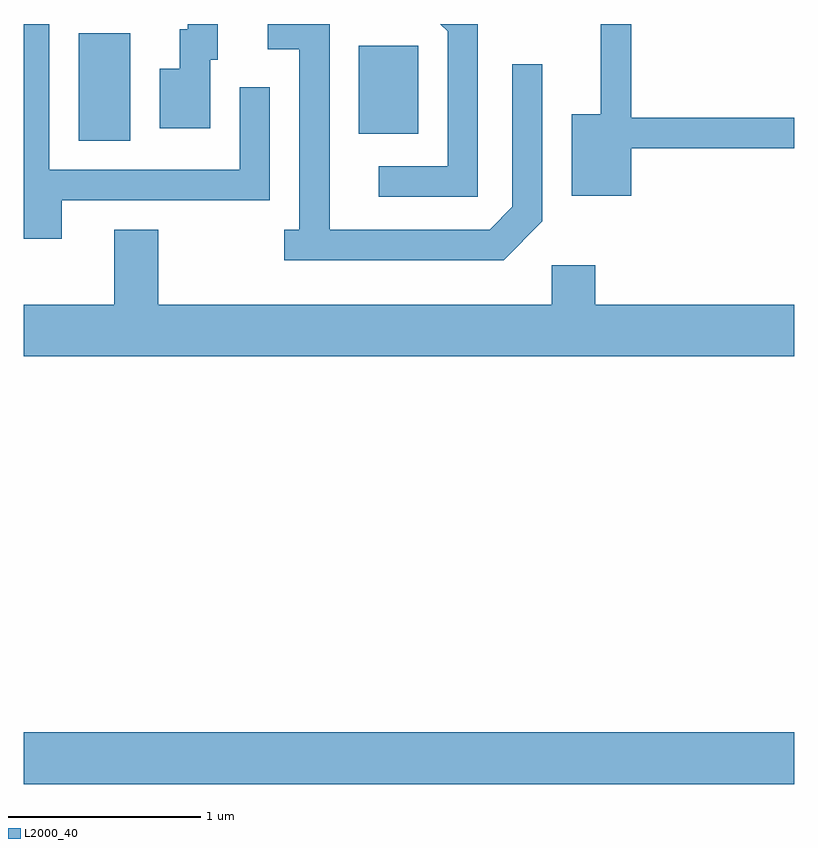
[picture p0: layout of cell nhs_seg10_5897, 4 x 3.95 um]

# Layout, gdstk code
import gdstk
lib = gdstk.Library(unit=1e-6, precision=1e-09)
def R(c, l, rs):  # rectangles x0, y0, x1, y1
    for r in rs: c.add(gdstk.rectangle(r[:2], r[2:], *l))
def P(c, l, *ps):  # polygons
    for p in ps: c.add(gdstk.Polygon(p, *l))
L2000_40 = (2000, 40)

nhs_seg10_5897 = lib.new_cell('nhs_seg10_5897')
R(nhs_seg10_5897, L2000_40, [(359.611,2120.576,363.611,2120.844), (359.896,2123.916,360.164,2124.474), (361.351,2123.951,361.659,2124.409)])
P(nhs_seg10_5897, L2000_40, [(359.809,2123.606),(360.889,2123.606),(360.889,2124.193),(360.731,2124.193),(360.731,2123.764),(359.744,2123.764),(359.744,2124.522),(359.611,2124.522),(359.611,2123.406),(359.809,2123.406)],
  [(362.304,2123.499),(362.304,2124.313),(362.146,2124.313),(362.146,2123.572),(362.029,2123.454),(361.199,2123.454),(361.199,2124.522),(360.878,2124.522),(360.878,2124.391),(361.041,2124.391),(361.041,2123.454),(360.963,2123.454),(360.963,2123.296),(362.102,2123.296)],
  [(362.764,2123.876),(363.611,2123.876),(363.611,2124.034),(362.764,2124.034),(362.764,2124.522),(362.606,2124.522),(362.606,2124.054),(362.456,2124.054),(362.456,2123.631),(362.764,2123.631)],
  [(360.579,2124.336),(360.619,2124.336),(360.619,2124.522),(360.461,2124.522),(360.461,2124.494),(360.421,2124.494),(360.421,2124.289),(360.316,2124.289),(360.316,2123.981),(360.579,2123.981)],
  [(361.969,2124.522),(361.773,2124.522),(361.811,2124.484),(361.811,2123.784),(361.453,2123.784),(361.453,2123.626),(361.969,2123.626)],
  [(363.611,2123.064),(362.579,2123.064),(362.579,2123.269),(362.351,2123.269),(362.351,2123.064),(360.309,2123.064),(360.309,2123.454),(360.081,2123.454),(360.081,2123.064),(359.611,2123.064),(359.611,2122.796),(363.611,2122.796)])

lib.write_gds('nhs_seg10_5897.gds')
